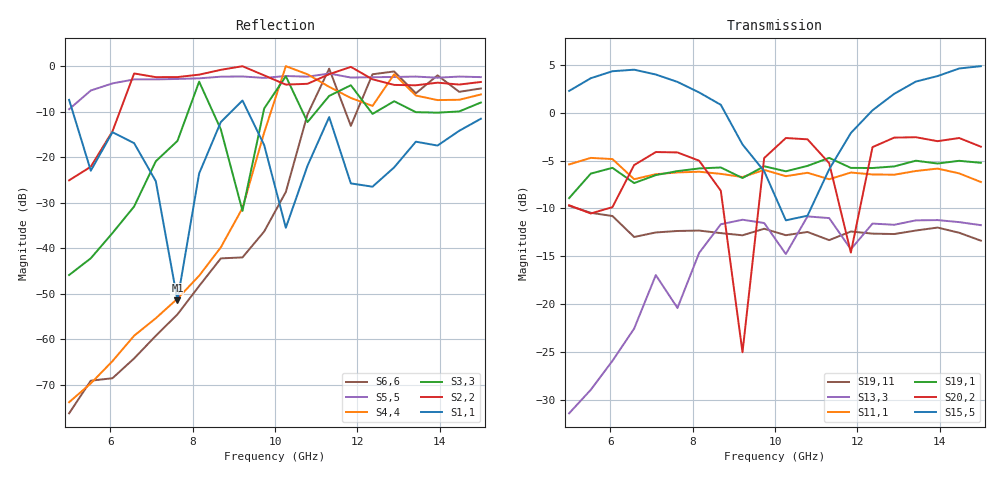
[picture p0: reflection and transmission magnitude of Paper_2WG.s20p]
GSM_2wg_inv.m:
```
%% GSM for one junction

clear; 

F = linspace(5e9, 25e9, 100);
% 
% rp = 0.0405319403216/2; % radius of the waveguide
% rr = 0.0405319403216/2.1;
rp = 1.8e-2*3; % radius of the waveguide
rr = 1.8e-2;
R = [rr rp];
n = length(R);
c0 = 3e8;

l = c0/5e9/4;

L = [l l];

err = 1;
murr = 1;
erp = 1;
murp = 1;

er = [err erp];
mu = [murr murp];


er0 = 8.85418782e-12; % Free space permittivity
mu0 = 1.25663706e-6;  % Free Space Permeability
epsilonr = err * er0;   % Permittivity in the medium
mur = mu0 * murr;
epsilonp = erp * er0;   % Permittivity in the medium
mup = mu0 * murp;

for i = 1:n
    f =  fc(R(i), er(i), mu(i));
    N_i  =  find(f < F(end));
    N_(i) = length(N_i);
end

if (N_(end) < 50)
    %N = [20 round(20 * (R(end)/R(1))^2)];
    N = N_ + 50;
else
    N = N_;
end

[X_til] = Inner_p2(1:N(1), 1:N(2), R(2), R(1), er(2), mu(2), er(1), mu(1));
%%
for k = 1:length(F)
    disp('frequency iteration')
    disp(k)
    [STT_, STR_, SRT_, SRR_] = GSM_V2(1:N(1), 1:N(2), F(k), R(2), R(1), er(2), mu(2), er(1), mu(1), X_til);

    slr = SL(R(1), F(k), 1:1:N(1), L(1));
    slt = SL(R(end), F(k), 1:1:N(end), L(end));

    STT(k, :, :) = slt * STT_ * slt; 
    STR(k, :, :) = slt * STR_ * slr; 
    SRT(k, :, :) = slr * SRT_ * slt; 
    SRR(k, :, :) = slr * SRR_ * slr;
end
%%
for k = 1:length(F)
    disp('frequency iteration')
    disp(k)
    f_base =  fc(R(1), er(1), mu(1));
    Num_modes_prop  =  find(f_base < F(k));
    RLRR_TE11(k) = db(abs(sum(SRR(1, 1:Num_modes_prop(end)))).^2)./2;
end

figure;
plot(F * 1e-9, (2*(RLRR_TE11)), 'LineWidth', 2); grid on; hold on;
%%
data5_feko = read(rfdata.data,'Paper_2WG.s20p');
s_params_5_feko = extract(data5_feko,'S_PARAMETERS');


figure;
% hold on;
% plot(F * 1e-9, db(abs(squeeze(STT(:, 1, 1)))), 'LineWidth', 2); grid on;
% hold on;
% figure;
plot(F * 1e-9, db(abs(squeeze(SRR(:, 1, 1)))), 'LineWidth', 2); grid on; hold on;
% plot(F_cst * 1e-9, db(abs(squeeze(s_params_5_cst(7, 7, :))))/2, 'LineWidth', 2); grid on;
% hold on;
plot(F * 1e-9, db(abs(squeeze(s_params_5_feko(1, 1, :)))), 'LineWidth', 2); grid on;


% xlim([9.5 21])
```
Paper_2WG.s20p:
! S-parameter export from POSTFEKO
! Filename: 2wg_Junc_dense
! Creation date: 2021-04-27 18:56:33
# Hz S MA R  5.0000000E+01
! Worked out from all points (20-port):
!   20 points, 5 GHz to 15 GHz, reference 50 ohm
!   strongest paths, dB at 5 GHz, 7.632 GHz, 10.26 GHz, 12.89 GHz, 15 GHz:
!     S15,5: 2.3, 3.2, -11.2, 2.0, 4.8
!     S20,2: -9.7, -4.2, -2.7, -2.6, -3.6
!     S19,1: -8.9, -6.1, -6.1, -5.6, -5.2
!     S11,1: -5.4, -6.2, -6.6, -6.5, -7.2
!     S13,3: -31.4, -20.4, -14.8, -11.7, -11.7
!     S19,11: -9.7, -12.4, -12.8, -12.7, -13.4
!   lowest |S11| = -51.4 dB at 7.632 GHz (marker M1), VSWR 1.01, Z = 50 + j0.266 ohm
!   |S11| at or under -10 dB: 5.088 GHz to 8.937 GHz (3.849 GHz wide, 54.9 % of centre); 9.343 GHz to end of sweep
